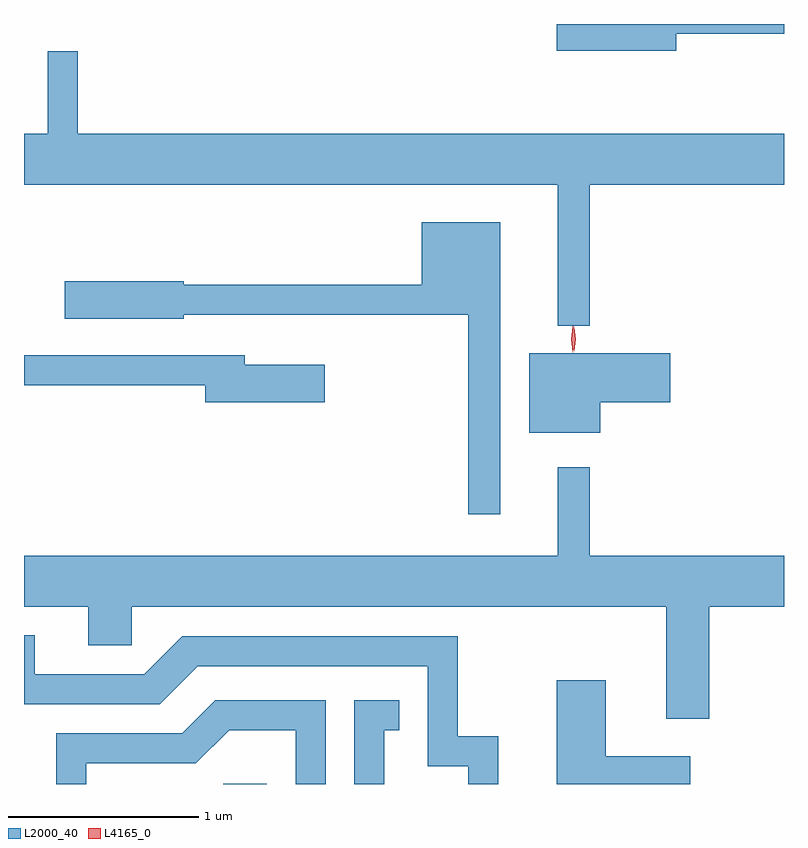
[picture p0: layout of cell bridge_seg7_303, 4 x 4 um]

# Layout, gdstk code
import gdstk
lib = gdstk.Library(unit=1e-6, precision=1e-09)
def R(c, l, rs):  # rectangles x0, y0, x1, y1
    for r in rs: c.add(gdstk.rectangle(r[:2], r[2:], *l))
def P(c, l, *ps):  # polygons
    for p in ps: c.add(gdstk.Polygon(p, *l))
L2000_40 = (2000, 40)
L4165_0 = (4165, 0)

bridge_seg7_303 = lib.new_cell('bridge_seg7_303')
R(bridge_seg7_303, L2000_40, [(1377.901,1773.322,1378.129,1773.324)])
P(bridge_seg7_303, L2000_40, [(1380.284,1777.271),(1380.852,1777.271),(1380.852,1777.322),(1379.656,1777.322),(1379.656,1777.181),(1380.284,1777.181)],
  [(1379.829,1776.476),(1380.852,1776.476),(1380.852,1776.744),(1377.134,1776.744),(1377.134,1777.178),(1376.976,1777.178),(1376.976,1776.744),(1376.852,1776.744),(1376.852,1776.476),(1379.661,1776.476),(1379.661,1775.733),(1379.829,1775.733)],
  [(1379.359,1776.279),(1378.946,1776.279),(1378.946,1775.949),(1377.694,1775.949),(1377.694,1775.969),(1377.066,1775.969),(1377.066,1775.771),(1377.694,1775.771),(1377.694,1775.791),(1379.191,1775.791),(1379.191,1774.743),(1379.359,1774.743)],
  [(1379.884,1775.331),(1380.254,1775.331),(1380.254,1775.589),(1379.511,1775.589),(1379.511,1775.171),(1379.884,1775.171)],
  [(1378.434,1775.529),(1378.014,1775.529),(1378.014,1775.579),(1376.852,1775.579),(1376.852,1775.421),(1377.806,1775.421),(1377.806,1775.331),(1378.434,1775.331)],
  [(1380.459,1774.256),(1380.852,1774.256),(1380.852,1774.524),(1379.829,1774.524),(1379.829,1774.988),(1379.661,1774.988),(1379.661,1774.524),(1376.852,1774.524),(1376.852,1774.256),(1377.191,1774.256),(1377.191,1774.051),(1377.419,1774.051),(1377.419,1774.256),(1380.231,1774.256),(1380.231,1773.666),(1380.459,1773.666)],
  [(1379.349,1773.574),(1379.134,1773.574),(1379.134,1774.099),(1377.684,1774.099),(1377.484,1773.899),(1376.909,1773.899),(1376.909,1774.104),(1376.852,1774.104),(1376.852,1773.741),(1377.567,1773.741),(1377.767,1773.941),(1378.976,1773.941),(1378.976,1773.416),(1379.191,1773.416),(1379.191,1773.322),(1379.349,1773.322)],
  [(1380.358,1773.469),(1379.914,1773.469),(1379.914,1773.869),(1379.656,1773.869),(1379.656,1773.322),(1380.358,1773.322)],
  [(1378.749,1773.606),(1378.828,1773.606),(1378.828,1773.764),(1378.591,1773.764),(1378.591,1773.322),(1378.749,1773.322)],
  [(1377.179,1773.431),(1377.757,1773.431),(1377.932,1773.606),(1378.281,1773.606),(1378.281,1773.322),(1378.439,1773.322),(1378.439,1773.764),(1377.859,1773.764),(1377.684,1773.589),(1377.021,1773.589),(1377.021,1773.322),(1377.179,1773.322)])
P(bridge_seg7_303, L4165_0, [(1379.74,1775.594),(1379.74,1775.594),(1379.731,1775.662),(1379.741,1775.73),(1379.742,1775.73),(1379.742,1775.73),(1379.751,1775.662),(1379.741,1775.594)],
  [(1379.747,1775.6),(1379.747,1775.6),(1379.737,1775.664),(1379.747,1775.726),(1379.747,1775.727),(1379.748,1775.726),(1379.757,1775.664),(1379.748,1775.6)])

lib.write_gds('bridge_seg7_303.gds')
